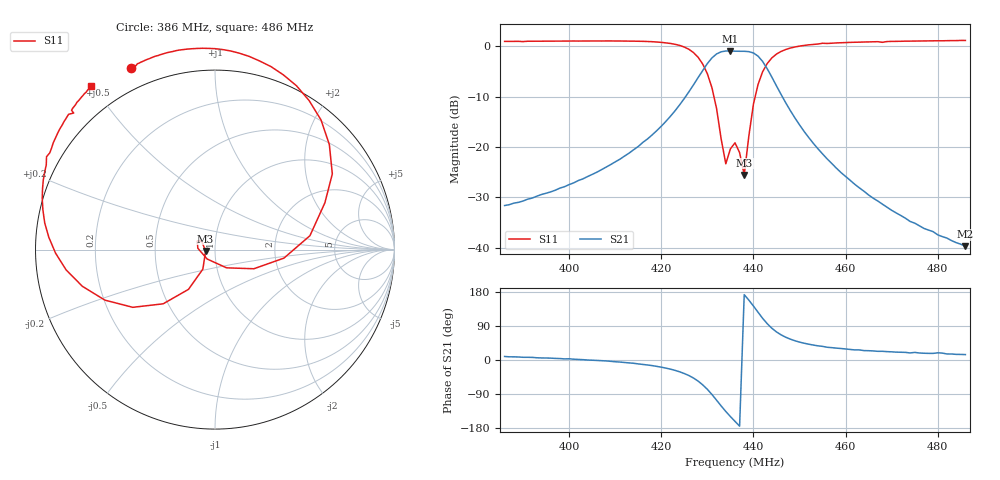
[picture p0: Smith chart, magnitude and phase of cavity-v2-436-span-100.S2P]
!File created by NanoVNA
# Hz S RI R 50
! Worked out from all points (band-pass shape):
!   101 points, 386 MHz to 486 MHz, reference 50 ohm
!   highest |S21| = -0.93 dB at 435 MHz (marker M1); lowest = -39.7 dB at 486 MHz (marker M2)
!   |S21| within 3 dB of the highest: 429.6 MHz to 442.6 MHz (13 MHz wide, 2.98 % of centre)
!   lowest |S11| = -25.5 dB at 438 MHz (marker M3), VSWR 1.11, Z = 45 - j0.738 ohm
!   |S11| at or under -10 dB: 431.4 MHz to 440.4 MHz (8.953 MHz wide, 2.05 % of centre)
!   S12 and S22 are empty: the file has one direction only
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3.86e8  -0.4693 1.015  0.026 0.00426  0 0  0 0
4.03e8  -0.3073 1.085  0.0484 0.000763  0 0  0 0
4.14e8  -0.0686 1.122  0.093 -0.0141  0 0  0 0
4.2e8  0.1897 1.077  0.1523 -0.0523  0 0  0 0
4.25e8  0.5244 0.8304  0.2463 -0.1777  0 0  0 0
4.27e8  0.6371 0.585  0.2795 -0.3066  0 0  0 0
4.29e8  0.6123 0.2609  0.2368 -0.5238  0 0  0 0
4.3e8  0.529 0.0775  0.1473 -0.658  0 0  0 0
4.32e8  0.2165 -0.1067  -0.2322 -0.8067  0 0  0 0
4.34e8  -0.0435 -0.0526  -0.6437 -0.6262  0 0  0 0
4.35e8  -0.0956 0.00733  -0.7713 -0.46  0 0  0 0
4.36e8  -0.0991 0.0482  -0.8497 -0.2775  0 0  0 0
4.37e8  -0.0744 0.0472  -0.8881 -0.0845  0 0  0 0
4.38e8  -0.0524 -0.00817  -0.884 0.1184  0 0  0 0
4.4e8  -0.1478 -0.2215  -0.681 0.5228  0 0  0 0
4.42e8  -0.4582 -0.3216  -0.2413 0.6643  0 0  0 0
4.43e8  -0.6137 -0.2814  -0.0598 0.5946  0 0  0 0
4.45e8  -0.8292 -0.1134  0.1107 0.3892  0 0  0 0
4.48e8  -0.9487 0.1486  0.132 0.189  0 0  0 0
4.53e8  -0.9483 0.4338  0.0842 0.0692  0 0  0 0
4.7e8  -0.7917 0.7892  0.0219 0.00867  0 0  0 0
4.86e8  -0.6894 0.9104  0.0101 0.00257  0 0  0 0
